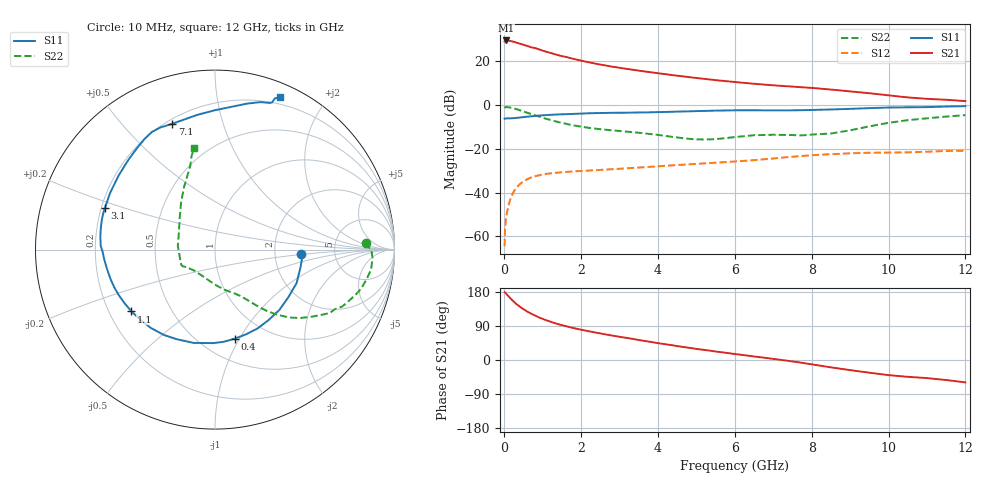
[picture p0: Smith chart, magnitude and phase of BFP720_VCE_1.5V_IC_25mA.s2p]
! Infineon Technologies  Discrete & RF Semiconductors
! BFP720
! VCE =  1.5 V,  IC =  25 mA
! Common Emitter S-Parameters:  Aug 2012
# GHz  S  MA  R  50
!  f  S11  S21  S12  S22
! GHz  MAG  ANG  MAG  ANG  MAG  ANG  MAG  ANG
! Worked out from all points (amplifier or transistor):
!   105 points, 10 MHz to 12 GHz, reference 50 ohm
!   highest |S21| = 29.2 dB at 50 MHz (marker M1)
!   |S21| within 3 dB of that: start of sweep to 682.3 MHz
!   unconditionally stable (mu >= 1): start of sweep to 71.47 MHz; 2.666 GHz to 11.29 GHz
!   at 300 MHz: K = 0.41, MSG = 33.3 dB, |S12| = -38.2 dB
!   at 3.6 GHz: K = 1.18, MAG = 19.3 dB, |S12| = -28.5 dB
!   at 12 GHz: K = 0.78, MSG = 11.3 dB, |S12| = -21.0 dB
!   S11 on the Smith chart (normalised r, x): 10 MHz: 2.82, -0.17; 400 MHz: 0.71, -0.95; 1.1 GHz: 0.29, -0.30; 3.1 GHz: 0.21, +0.18; 7.1 GHz: 0.22, +0.69; 12 GHz: 0.13, +1.51
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0.01  0.4779 -2.8  27.53 179.1  0.0006 -6.2  0.8396 2.6
0.02  0.4884 -4.3  28.75 178.5  0.0014 47.2  0.872 -0.5
0.05  0.4865 -11.1  28.96 175.1  0.0028 63.6  0.8787 -3.1
0.1  0.4915 -22.2  28.88 169.5  0.0044 70.1  0.8767 -7.4
0.2  0.4916 -43.1  27.65 158.6  0.0086 67.3  0.8438 -14.8
0.3  0.4992 -61.6  26.22 149.1  0.0123 63.4  0.7983 -21.0
0.4  0.5083 -77.6  24.57 141.3  0.0153 58.6  0.7462 -26.4
0.45  0.5158 -84.4  23.87 137.4  0.0166 56.6  0.7304 -28.9
0.6  0.5334 -102.9  21.75 127.8  0.0201 50.3  0.653 -35.0
0.7  0.5431 -113.3  20.25 122.3  0.022 47.0  0.6115 -38.5
0.8  0.5542 -120.9  19.47 117.5  0.0234 44.2  0.574 -41.4
0.9  0.5643 -129.4  18.22 112.6  0.0246 41.8  0.537 -43.9
1.1  0.5789 -143.5  15.98 104.6  0.0266 37.5  0.4746 -48.0
1.5  0.6037 -163.4  12.73 91.9  0.0289 32.5  0.3848 -53.6
2.1  0.6311 179.7  9.628 78.0  0.0312 29.7  0.3064 -59.9
3.1  0.6557 159.1  6.704 59.7  0.0352 29.1  0.247 -71.2
4.1  0.6798 140.6  5.066 43.0  0.04 28.9  0.1994 -87.7
6.1  0.7439 117.4  3.219 14.6  0.0515 26.6  0.1865 -148.0
7.1  0.7407 108.7  2.72 1.7  0.0606 24.7  0.2057 -156.2
8.5  0.777 89.9  2.208 -19.4  0.0745 14.4  0.2205 156.1
10.5  0.8714 69.7  1.461 -44.4  0.0821 -0.6  0.4435 110.1
12  0.9248 66.8  1.206 -59.1  0.0892 -10.6  0.5787 101.6
